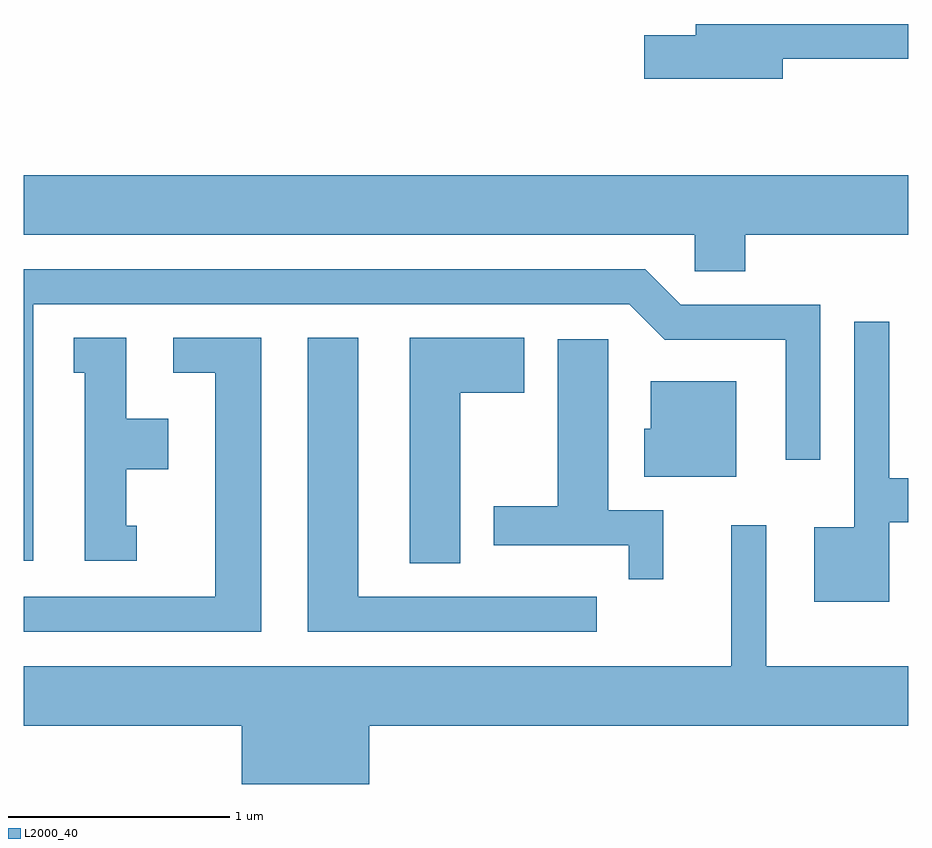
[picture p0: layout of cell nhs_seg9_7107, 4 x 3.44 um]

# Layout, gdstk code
import gdstk
lib = gdstk.Library(unit=1e-6, precision=1e-09)
def P(c, l, *ps):  # polygons
    for p in ps: c.add(gdstk.Polygon(p, *l))
L2000_40 = (2000, 40)

nhs_seg9_7107 = lib.new_cell('nhs_seg9_7107')
P(nhs_seg9_7107, L2000_40, [(399.044,2003.711),(399.611,2003.711),(399.611,2003.869),(398.651,2003.869),(398.651,2003.819),(398.416,2003.819),(398.416,2003.621),(399.044,2003.621)],
  [(398.874,2002.916),(399.611,2002.916),(399.611,2003.184),(395.611,2003.184),(395.611,2002.916),(398.646,2002.916),(398.646,2002.751),(398.874,2002.751)],
  [(395.654,2002.601),(398.349,2002.601),(398.509,2002.441),(399.056,2002.441),(399.056,2001.898),(399.214,2001.898),(399.214,2002.599),(398.582,2002.599),(398.422,2002.759),(395.611,2002.759),(395.611,2001.441),(395.654,2001.441)],
  [(399.524,2001.616),(399.611,2001.616),(399.611,2001.814),(399.524,2001.814),(399.524,2002.523),(399.366,2002.523),(399.366,2001.594),(399.186,2001.594),(399.186,2001.256),(399.524,2001.256)],
  [(396.123,2001.599),(396.074,2001.599),(396.074,2001.856),(396.264,2001.856),(396.264,2002.084),(396.074,2002.084),(396.074,2002.449),(395.838,2002.449),(395.838,2002.291),(395.886,2002.291),(395.886,2001.441),(396.123,2001.441)],
  [(397.584,2002.201),(397.874,2002.201),(397.874,2002.449),(397.356,2002.449),(397.356,2001.431),(397.584,2001.431)],
  [(396.684,2002.449),(396.288,2002.449),(396.288,2002.291),(396.476,2002.291),(396.476,2001.279),(395.611,2001.279),(395.611,2001.121),(396.684,2001.121)],
  [(398.203,2001.279),(397.124,2001.279),(397.124,2002.449),(396.896,2002.449),(396.896,2001.121),(398.203,2001.121)],
  [(398.504,2001.669),(398.254,2001.669),(398.254,2002.444),(398.026,2002.444),(398.026,2001.689),(397.736,2001.689),(397.736,2001.511),(398.346,2001.511),(398.346,2001.358),(398.504,2001.358)],
  [(398.834,2002.254),(398.446,2002.254),(398.446,2002.039),(398.416,2002.039),(398.416,2001.821),(398.834,2001.821)],
  [(397.174,2000.696),(399.611,2000.696),(399.611,2000.964),(398.969,2000.964),(398.969,2001.603),(398.811,2001.603),(398.811,2000.964),(395.611,2000.964),(395.611,2000.696),(396.596,2000.696),(396.596,2000.432),(397.174,2000.432)])

lib.write_gds('nhs_seg9_7107.gds')
